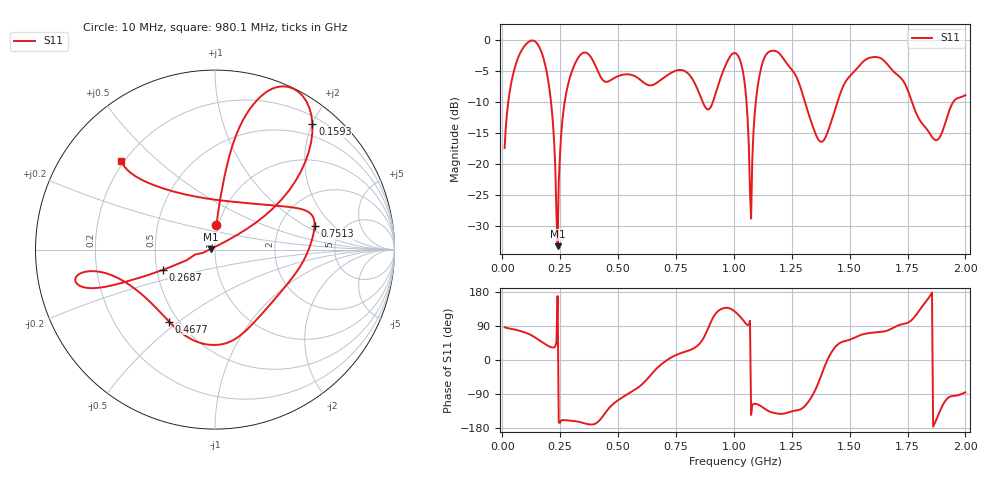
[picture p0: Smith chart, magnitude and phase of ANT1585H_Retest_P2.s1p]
!Created with skrf (http://scikit-rf.org).
# Hz S RI R 50.0
!freq ReS11 ImS11
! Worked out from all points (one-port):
!   401 points, 10 MHz to 2 GHz, reference 50 ohm
!   lowest |S11| = -33.3 dB at 238.8 MHz (marker M1), VSWR 1.04, Z = 47.9 + j0.401 ohm
!   |S11| at or under -10 dB: 210.4 MHz to 269.4 MHz (58.99 MHz wide, 24.6 % of centre); 1.307 GHz to 1.447 GHz (139.7 MHz wide, 10.1 % of centre); 1.77 GHz to 1.947 GHz (177.2 MHz wide, 9.54 % of centre) (the widest 3 of 6)
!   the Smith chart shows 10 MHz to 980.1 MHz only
!   S11 on the Smith chart (normalised r, x): 10 MHz: 0.98, +0.27; 159.2 MHz: 0.31, +2.00; 268.7 MHz: 0.54, -0.13; 467.7 MHz: 0.44, -0.46; 751.3 MHz: 3.13, +1.23; 980.1 MHz: 0.19, +0.39
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1e7  0.0081 0.1346
4.4825e7  0.0765 0.508
9.955e7  0.2794 0.8733
1.5925e8  0.5427 0.7008
2.04025e8  0.3249 0.2311
2.3885e8  -0.0213 0.00418
2.5875e8  -0.2033 -0.0784
2.687e8  -0.2895 -0.1126
3.5825e8  -0.7789 -0.1696
4.677e8  -0.2561 -0.4009
5.075e8  -0.1173 -0.5067
7.51275e8  0.5546 0.1323
7.5625e8  0.5545 0.1453
8.90575e8  0.0195 0.2756
9.80125e8  -0.5247 0.4958
1.005e9  -0.4807 0.626
1.0448e9  -0.0949 0.4726
1.07465e9  -0.0298 -0.0208
1.099525e9  -0.1685 -0.3393
1.129375e9  -0.4226 -0.5637
1.1841e9  -0.632 -0.5129
1.25375e9  -0.4019 -0.4021
1.378125e9  0.1169 -0.0962
1.5025e9  0.3043 0.4185
1.616925e9  0.21 0.7013
1.75125e9  -0.0585 0.3905
1.87065e9  -0.1495 -0.0465
2e9  0.0297 -0.3596
